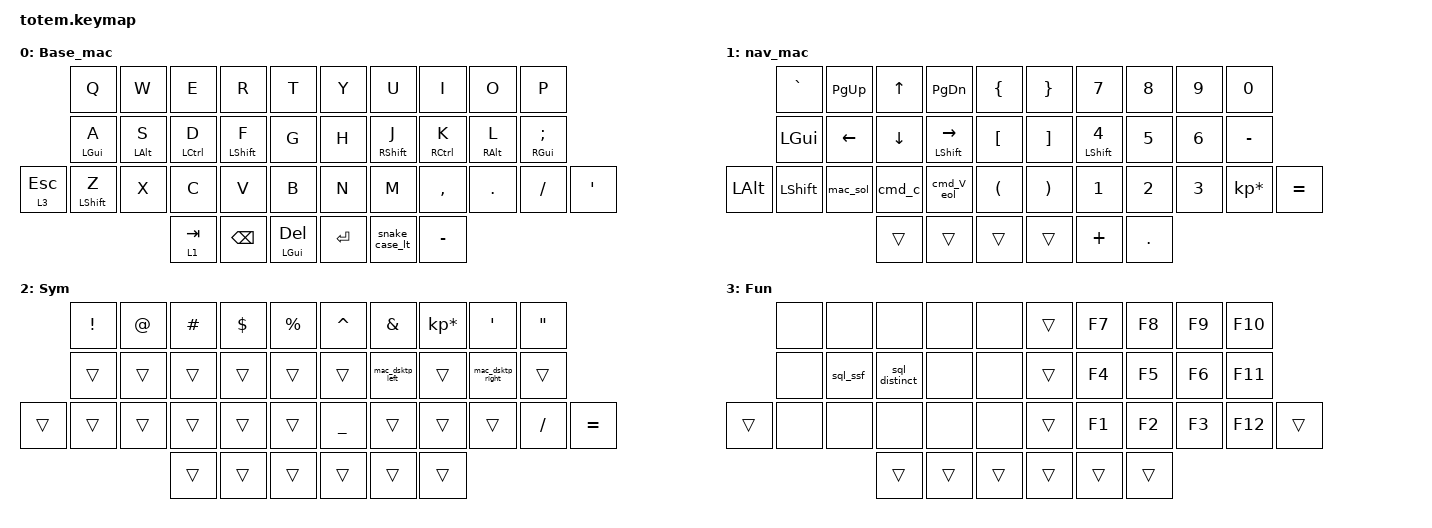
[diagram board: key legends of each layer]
//
//                                                        ▀▀▀▀▀     ▀▀▀▀▀          ▀▀█▀▀
//                                                        ▄▀▀▀▄  ▄  ▄▀▀▀▄  ▄  ▄▀▀▀▄  █  ▄▀▀▀▄
//                                                        █   █  █  █   █  █  █   █  █  █   █
//                                                         ▀▀▀   █   ▀▀▀   █   ▀▀▀   ▀   ▀▀▀
//                                                               █      ▄▄▄█▄▄▄    █   █  
//                                                               ▀      █  █  █     █▄█
//                                                             ▀▀▀▀▀    █  █  █      ▀
//                                                                      ▀  ▀  ▀
//
//
// ▄▄▄▄▄▄▄▄▄▄▄▄▄▄▄▄▄▄▄▄▄▄▄▄▄▄▄▄▄▄▄▄▄▄▄▄▄▄▄▄▄▄▄▄▄▄▄▄▄▄▄▄▄▄▄▄▄▄▄▄▄▄▄▄▄▄▄▄▄▄▄▄▄▄▄▄▄▄▄▄▄▄▄▄▄▄▄▄▄▄▄▄▄▄▄▄▄▄▄▄▄▄▄▄▄▄▄▄▄▄▄▄▄▄▄▄▄▄▄▄▄▄▄▄▄▄▄▄▄▄▄▄▄▄▄▄▄▄▄▄▄▄▄▄▄▄▄▄▄

#include <behaviors.dtsi>
#include <dt-bindings/zmk/keys.h>

#define Base        0
#define Media       1
#define Nav         2
#define Mouse       3
#define Sym         4
#define Num         5
#define Fun         6
#define Button      7
#define Game        8
#define Gameplus    9

&mt {
    quick-tap-ms = <100>;
    global-quick-tap;
    flavor = "tap-preferred";
    tapping-term-ms = <170>;
};

&lt {
    tapping-term-ms = <240>;
    flavor = "balanced";
    quick-tap-ms = <150>;
};

/ {
    behaviors {
        hm: homerow_mods {
            compatible = "zmk,behavior-hold-tap";
            label = "HOMEROW_MODS";
            #binding-cells = <2>;
            flavor = "tap-preferred";
            tapping-term-ms = <200>;
            quick-tap-ms = <125>;
            global-quick-tap;
            bindings = <&kp>, <&kp>;
        };

        snake_case_lt: snake_case_lt {
            compatible = "zmk,behavior-mod-morph";
            label = "SNAKE_CASE_LT";
            bindings = <&lt 2 SPACE>, <&kp UNDERSCORE>;

            #binding-cells = <0>;
            mods = <(MOD_RSFT)>;
        };

        Ctrl_v_PgUp: Ctrl_v_PgUp {
            compatible = "zmk,behavior-mod-morph";
            label = "CTRL_V_PGUP";
            bindings = <&kp PG_UP>, <&kp V>;

            #binding-cells = <0>;
            mods = <(MOD_LCTL)>;
            keep-mods = <(MOD_LCTL)>;
        };

        Ctrl_c: Ctrl_c {
            compatible = "zmk,behavior-mod-morph";
            label = "CTRL_C";
            bindings = <&none>, <&kp C>;

            #binding-cells = <0>;
            mods = <(MOD_LCTL)>;
            keep-mods = <(MOD_LCTL)>;
        };

        cmd_V_eol: cmd_V_eol {
            compatible = "zmk,behavior-mod-morph";
            label = "CMD_V_EOL";
            bindings = <&mac_eol>, <&kp V>;

            #binding-cells = <0>;
            mods = <(MOD_LGUI)>;
            keep-mods = <(MOD_LGUI)>;
        };

        cmd_c: cmd_c {
            compatible = "zmk,behavior-mod-morph";
            label = "CMD_C";
            bindings = <&none>, <&kp C>;

            #binding-cells = <0>;
            mods = <(MOD_LGUI)>;
            keep-mods = <(MOD_LGUI)>;
        };

        dsktp_switch_left: dsktp_switch_left {
            compatible = "zmk,behavior-mod-morph";
            label = "DSKTP_SWITCH_LEFT";
            bindings = <&win_dsktp_left>, <&mac_dsktp_left>;

            #binding-cells = <0>;
            mods = <(MOD_LGUI)>;
        };

        dsktp_switch_right: dsktp_switch_right {
            compatible = "zmk,behavior-mod-morph";
            label = "DSKTP_SWITCH_RIGHT";
            bindings = <&win_dsktp_right>, <&mac_dsktp_right>;

            #binding-cells = <0>;
            mods = <(MOD_LGUI)>;
        };
    };

    combos {
        compatible = "zmk,combos";

        cmb_enter {
            bindings = <&kp ENTER>;
            key-positions = <25 33>;
        };

        cmb_down {
            bindings = <&kp DOWN>;
            key-positions = <13 17>;
        };

        cmb_up {
            bindings = <&kp UP_ARROW>;
            key-positions = <13 7>;
        };

        cmb_mac_sol {
            bindings = <&mac_sol>;
            key-positions = <13 16>;
            layers = <0 1>;
        };

        cmb_mac_eol {
            bindings = <&mac_eol>;
            key-positions = <13 18>;
            layers = <0 1>;
        };

        cmd_enter_2 {
            bindings = <&kp ENTER>;
            key-positions = <25 34>;
        };
    };

    macros {
        sql_ssf: sql_ssf {
            compatible = "zmk,behavior-macro";
            #binding-cells = <0>;
            bindings = <&kp LS(S) &kp LS(E) &kp LS(L) &kp LS(E) &kp LS(C) &kp LS(T) &kp SPACE &kp STAR &kp SPACE &kp LS(F) &kp LS(R) &kp LS(O) &kp LS(M) &kp SPACE>;
            label = "SQL_SSF";
        };

        sql_distinct: sql_distinct {
            compatible = "zmk,behavior-macro";
            #binding-cells = <0>;
            bindings = <&kp LS(S) &kp LS(E) &kp LS(L) &kp LS(E) &kp LS(C) &kp LS(T) &kp SPACE &kp LS(D) &kp LS(I) &kp LS(S) &kp LS(T) &kp LS(I) &kp LS(N) &kp LS(C) &kp LS(T) &kp SPACE>;
            label = "SQL_DISTINCT";
        };

        mac_eol: mac_eol {
            compatible = "zmk,behavior-macro";
            #binding-cells = <0>;
            bindings =
                <&macro_press>,
                <&kp LEFT_GUI>,
                <&macro_tap>,
                <&kp RIGHT_ARROW>,
                <&macro_release>,
                <&kp LEFT_GUI>;

            label = "MAC_EOL";
        };

        mac_sol: mac_sol {
            compatible = "zmk,behavior-macro";
            #binding-cells = <0>;
            bindings =
                <&macro_press>,
                <&kp LEFT_GUI>,
                <&macro_tap>,
                <&kp LEFT_ARROW>,
                <&macro_release>,
                <&kp LEFT_GUI>;

            label = "MAC_SOL";
        };

        win_dsktp_right: win_dsktp_right {
            compatible = "zmk,behavior-macro";
            #binding-cells = <0>;
            bindings =
                <&macro_press>,
                <&kp LEFT_GUI &kp LEFT_CONTROL>,
                <&macro_tap>,
                <&kp RIGHT>,
                <&macro_release>,
                <&kp LEFT_GUI &kp LEFT_CONTROL>;

            label = "WIN_DSKTP_RIGHT";
        };

        win_dsktp_left: win_dsktp_left {
            compatible = "zmk,behavior-macro";
            #binding-cells = <0>;
            bindings =
                <&macro_press>,
                <&kp LEFT_GUI &kp LEFT_CONTROL>,
                <&macro_tap>,
                <&kp LEFT_ARROW>,
                <&macro_release>,
                <&kp LEFT_GUI &kp LEFT_CONTROL>;

            label = "WIN_DSKTP_LEFT";
        };

        mac_dsktp_right: mac_dsktp_right {
            compatible = "zmk,behavior-macro";
            #binding-cells = <0>;
            bindings =
                <&macro_press>,
                <&kp LEFT_CONTROL>,
                <&macro_tap>,
                <&kp RIGHT>,
                <&macro_release>,
                <&kp LEFT_CONTROL>;

            label = "MAC_DSKTP_RIGHT";
        };

        mac_dsktp_left: mac_dsktp_left {
            compatible = "zmk,behavior-macro";
            #binding-cells = <0>;
            bindings =
                <&macro_press>,
                <&kp LEFT_CONTROL>,
                <&macro_tap>,
                <&kp LEFT>,
                <&macro_release>,
                <&kp LEFT_CONTROL>;

            label = "MAC_DSKTP_LEFT";
        };
    };

    keymap {
        compatible = "zmk,keymap";

        base_mac {
            label = "Base_mac";
            bindings = <
              &kp Q             &kp W       &kp E        &kp R          &kp T                  &kp Y      &kp U           &kp I        &kp O       &kp P
              &hm LEFT_GUI A    &hm LALT S  &hm LCTRL D  &hm LSHIFT F   &kp G                  &kp H      &hm RSHFT J     &hm RCTRL K  &hm RALT L  &hm RGUI SEMICOLON
&lt 3 ESCAPE  &mt LEFT_SHIFT Z  &kp X       &kp C        &kp V          &kp B                  &kp N      &kp M           &kp COMMA    &kp DOT     &kp SLASH           &kp APOSTROPHE
                                            &lt 1 TAB    &kp BACKSPACE  &mt LEFT_GUI DELETE    &kp ENTER  &snake_case_lt  &kp MINUS
            >;
        };

        nav_mac {
            label = "nav_mac";
            bindings = <
              &kp GRAVE       &kp PAGE_UP  &kp UP_ARROW  &kp PAGE_DOWN         &kp LBRC    &kp RBRC  &kp NUMBER_7             &kp NUMBER_8  &kp NUMBER_9  &kp NUMBER_0
              &kp LEFT_GUI    &kp LEFT     &kp DOWN      &hm LEFT_SHIFT RIGHT  &kp LBKT    &kp RBKT  &hm LEFT_SHIFT NUMBER_4  &kp N5        &kp NUMBER_6  &kp MINUS
&kp LEFT_ALT  &kp LEFT_SHIFT  &mac_sol     &cmd_c        &cmd_V_eol            &kp LPAR    &kp RPAR  &kp NUMBER_1             &kp NUMBER_2  &kp NUMBER_3  &kp KP_MULTIPLY  &kp EQUAL
                                           &trans        &trans                &trans      &trans    &kp PLUS                 &kp DOT
            >;
        };

        Sym {
            label = "Sym";
            bindings = <
        &kp EXCL  &kp AT  &kp HASH  &kp DOLLAR  &kp PERCENT    &kp CARET  &kp AMPERSAND    &kp KP_ASTERISK  &kp SQT           &kp DQT
        &trans    &trans  &trans    &trans      &trans         &trans     &mac_dsktp_left  &trans           &mac_dsktp_right  &trans
&trans  &trans    &trans  &trans    &trans      &trans         &kp UNDER  &trans           &trans           &trans            &kp SLASH  &kp EQUAL
                          &trans    &trans      &trans         &trans     &trans           &trans
            >;
        };

        Fun {
            label = "Fun";
            bindings = <
        &none  &none     &none          &none   &none     &trans  &kp F7  &kp F8  &kp F9  &kp F10
        &none  &sql_ssf  &sql_distinct  &none   &none     &trans  &kp F4  &kp F5  &kp F6  &kp F11
&trans  &none  &none     &none          &none   &none     &trans  &kp F1  &kp F2  &kp F3  &kp F12  &trans
                         &trans         &trans  &trans    &trans  &trans  &trans
            >;
        };
    };
};
